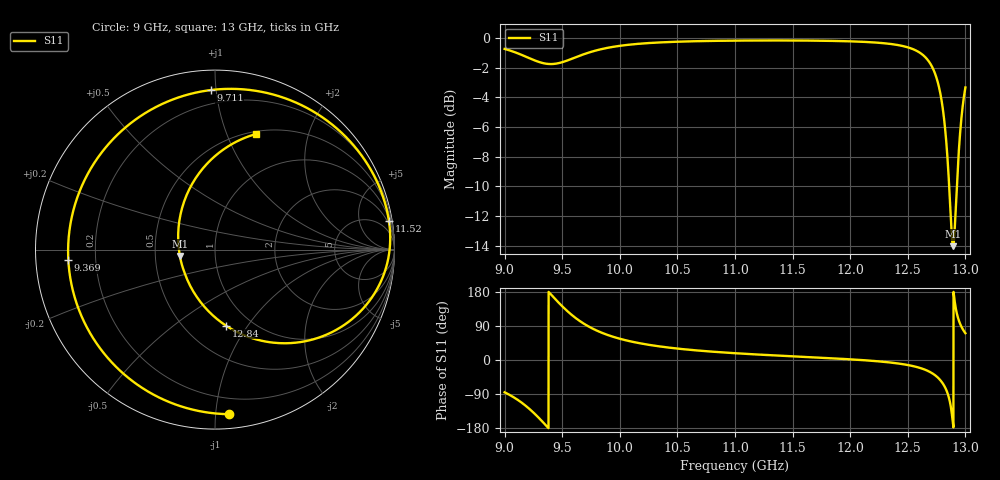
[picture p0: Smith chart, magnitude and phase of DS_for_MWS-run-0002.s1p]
! TOUCHSTONE file generated by CST DESIGN STUDIO
! Date and time: Tue Feb  4 17:13:51 2025
! Project name: C:\Work\MatlabApps\UnitCellOptimizationMatlab\CST\unitcell.cst
! Tree item: Tasks\Sweep1\SPara1\S-Parameters
! Header version: 2024
! Port assignment regex: !\s*Touchstone port\s*([0-9]+)\s*=\s*(CST MWS port|CST DES external port|CST DES block port)\s*(.+)\s* \(\"(.*)\"\)(\s*mode\s*([0-9]+))?.*
! Touchstone port assignment:
! Touchstone port 1 = CST DES external port 1 ("")
# GHz S MA R 50
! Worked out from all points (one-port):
!   4001 points, 9 GHz to 13 GHz, reference 50 ohm
!   lowest |S11| = -14.0 dB at 12.89 GHz (marker M1), VSWR 1.50, Z = 33.6 - j2.52 ohm
!   |S11| at or under -10 dB: 12.86 GHz to 12.93 GHz (66.13 MHz wide, 0.513 % of centre)
!   S11 on the Smith chart (normalised r, x): 9 GHz: 0.09, -1.08; 9.369 GHz: 0.10, -0.03; 9.711 GHz: 0.11, +0.97; 11.52 GHz: 1, +12; 12.84 GHz: 0.77, -0.80; 13 GHz: 0.53, +1.27
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9  0.9202 -85.2
9.103  0.8925 -103.0
9.191  0.864 -122.8
9.291  0.8331 -150.9
9.369  0.8193 -176.0
9.432  0.8192 163.2
9.5  0.8298 141.8
9.6  0.857 114.7
9.711  0.8891 91.6
9.849  0.9201 71.3
10  0.9423 56.1
10.216  0.9607 41.9
10.5  0.9729 30.2
11  0.9812 17.9
11.5  0.9822 9.7
11.516  0.9821 9.5
12  0.9757 1.8
12.5  0.9314 -13.2
12.62  0.8847 -22.3
12.705  0.8085 -33.7
12.787  0.6368 -55.0
12.838  0.4274 -81.9
12.877  0.2324 -130.3
12.893  0.1988 -169.5
12.92  0.2863 130.9
12.951  0.4619 97.8
12.976  0.5871 81.9
13  0.682 70.6
